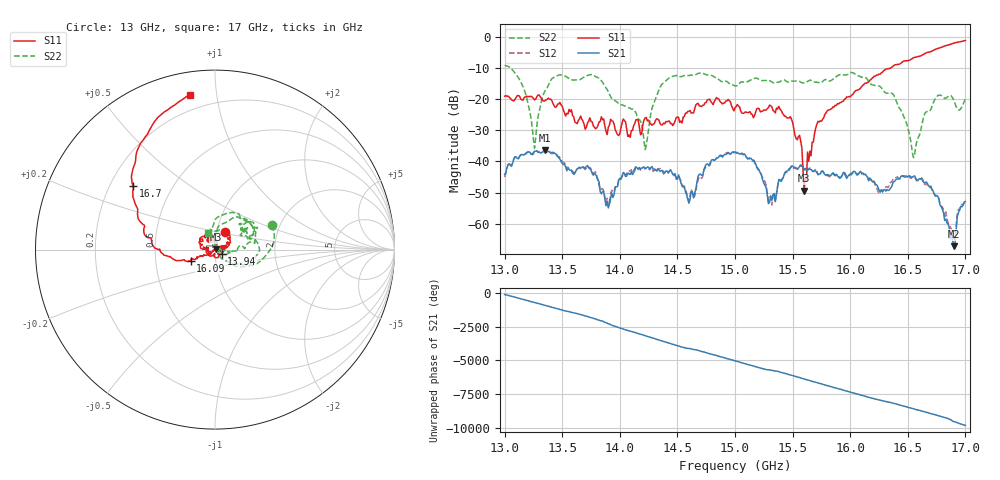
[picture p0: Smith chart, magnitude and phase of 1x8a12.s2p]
!Keysight Technologies,P9374A,MY57211807,A.19.30.04
!Date: Friday, May 08, 2026 14:10:55
!Correction: S11(C  2-Port  )
!S21(C  2-Port  )
!S12(C  2-Port  )
!S22(C  2-Port  )
!S2P File: Measurements: S11, S21, S12, S22:
# Hz S  dB  R 50
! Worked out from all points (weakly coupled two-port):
!   401 points, 13 GHz to 17 GHz, reference 50 ohm
!   highest |S21| = -36.50 dB at 13.35 GHz (marker M1); lowest = -67.2 dB at 16.9 GHz (marker M2)
!   lowest |S11| = -49.4 dB at 15.6 GHz (marker M3), VSWR 1.01, Z = 50.3 + j0.116 ohm
!   |S11| at or under -10 dB: start of sweep to 16.35 GHz
!   |S22| runs from -38.8 to -9.2 dB; largest |S21 - S12| = 0.001
!   S11 on the Smith chart (normalised r, x): 13 GHz: 1.09, +0.22; 13.94 GHz: 1.08, -0.05; 16.09 GHz: 0.75, -0.10; 16.7 GHz: 0.30, +0.32; 17 GHz: 0.12, +0.84
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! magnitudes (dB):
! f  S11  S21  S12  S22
! 13 GHz  -19.1  -44.2  -45.0  -9.2
! 13.16 GHz  -20.3  -37.9  -37.9  -16.0
! 13.26 GHz  -20.2  -36.7  -36.8  -35.8
! 13.35 GHz  -20.5  -36.5  -36.6  -17.5
! 13.67 GHz  -26.4  -41.9  -42.1  -13.4
! 13.94 GHz  -27.1  -51.6  -49.8  -20.1
! 14.13 GHz  -27.8  -42.8  -42.2  -23.7
! 14.22 GHz  -26.1  -42.2  -42.5  -36.2
! 14.34 GHz  -26.8  -42.7  -42.4  -17.0
! 14.6 GHz  -23.9  -53.5  -52.9  -12.4
! 15 GHz  -22.8  -36.9  -37.2  -15.8
! 15.16 GHz  -26.0  -39.6  -39.7  -13.4
! 15.3 GHz  -21.9  -53.0  -51.6  -14.1
! 15.48 GHz  -25.7  -42.1  -42.2  -14.4
! 15.6 GHz  -49.4  -42.8  -42.5  -14.8
! 15.67 GHz  -33.9  -43.0  -43.0  -14.2
! 16.09 GHz  -16.5  -43.2  -43.5  -12.8
! 16.34 GHz  -10.2  -49.2  -47.5  -18.1
! 16.55 GHz  -6.7  -44.8  -44.8  -38.8
! 16.7 GHz  -4.7  -47.9  -48.4  -23.3
! 16.9 GHz  -2.0  -67.2  -63.9  -20.5
! 17 GHz  -1.2  -52.9  -52.9  -19.9
